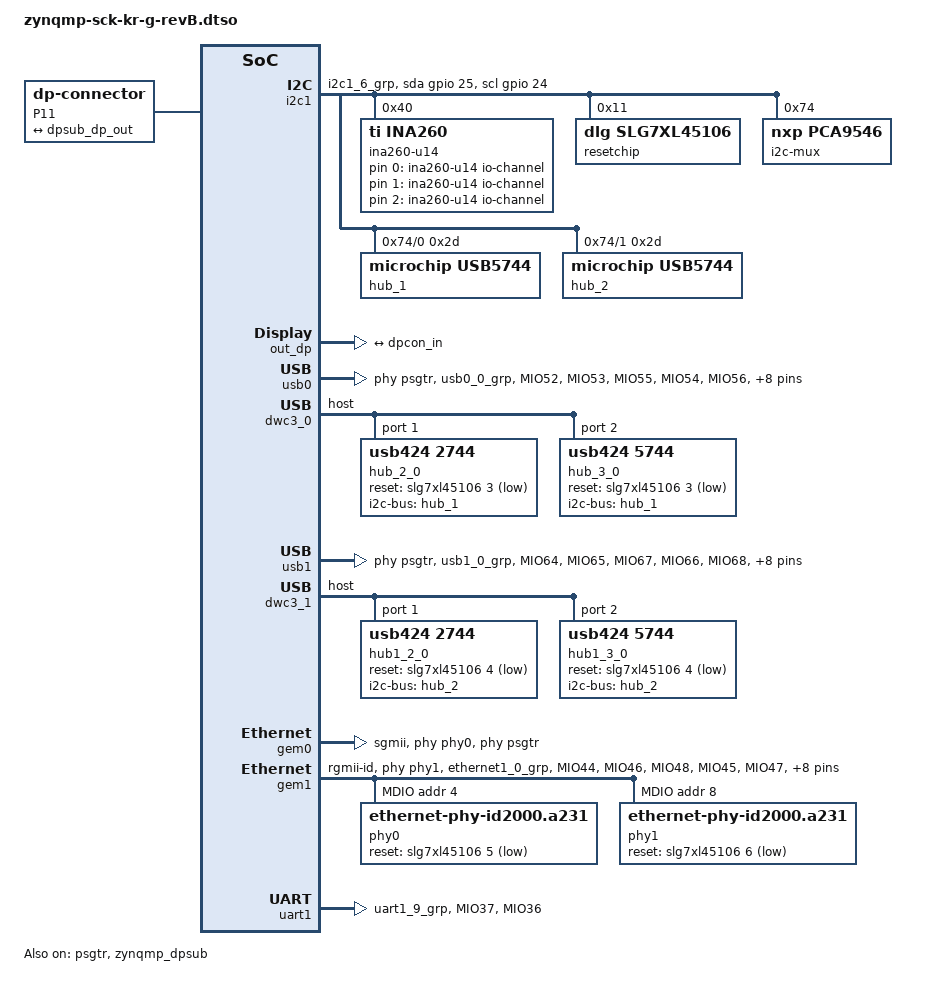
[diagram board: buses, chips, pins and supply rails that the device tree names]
// SPDX-License-Identifier: GPL-2.0
/*
 * dts file for KR260 revB Carrier Card (A03 revision)
 *
 * (C) Copyright 2021 - 2022, Xilinx, Inc.
 *
 * Michal Simek <michal.simek@amd.com>
 */

#include <dt-bindings/gpio/gpio.h>
#include <dt-bindings/net/ti-dp83867.h>
#include <dt-bindings/phy/phy.h>
#include <dt-bindings/pinctrl/pinctrl-zynqmp.h>

/dts-v1/;
/plugin/;

&{/} {
	compatible = "xlnx,zynqmp-sk-kr260-revB",
		     "xlnx,zynqmp-sk-kr260", "xlnx,zynqmp";
	model = "ZynqMP KR260 revB";

	aliases {
		ethernet0 = "/axi/ethernet@ff0b0000"; /* &gem0 */
		ethernet1 = "/axi/ethernet@ff0c0000"; /* &gem1 */
	};

	ina260-u14 {
		compatible = "iio-hwmon";
		io-channels = <&u14 0>, <&u14 1>, <&u14 2>;
	};

	clk_125: clock0 { /* u87 - GEM0/1 */
		compatible = "fixed-clock";
		#clock-cells = <0>;
		clock-frequency = <125000000>;
	};

	clk_27: clock1 { /* u86 - DP */
		compatible = "fixed-clock";
		#clock-cells = <0>;
		clock-frequency = <27000000>;
	};

	clk_26: clock2 { /* u89 - USB */
		compatible = "fixed-clock";
		#clock-cells = <0>;
		clock-frequency = <26000000>;
	};

	clk_156: clock3 { /* u90 - SFP+ */
		compatible = "fixed-clock";
		#clock-cells = <0>;
		clock-frequency = <156250000>;
	};

	clk_25_0: clock4 { /* u92/u91 - GEM2 */
		compatible = "fixed-clock";
		#clock-cells = <0>;
		clock-frequency = <25000000>;
	};

	clk_25_1: clock5 { /* u92/u91 - GEM3 */
		compatible = "fixed-clock";
		#clock-cells = <0>;
		clock-frequency = <25000000>;
	};

	clk_74: clock6 { /* u88 - SLVC-EC */
		compatible = "fixed-clock";
		#clock-cells = <0>;
		clock-frequency = <74250000>;
	};

	dpcon {
		compatible = "dp-connector";
		label = "P11";
		type = "full-size";

		port {
			dpcon_in: endpoint {
				remote-endpoint = <&dpsub_dp_out>;
			};
		};
	};
};

&i2c1 { /* I2C_SCK C26/C27 - MIO from SOM */
	#address-cells = <1>;
	#size-cells = <0>;
	pinctrl-names = "default", "gpio";
	pinctrl-0 = <&pinctrl_i2c1_default>;
	pinctrl-1 = <&pinctrl_i2c1_gpio>;
	scl-gpios = <&gpio 24 (GPIO_ACTIVE_HIGH | GPIO_OPEN_DRAIN)>;
	sda-gpios = <&gpio 25 (GPIO_ACTIVE_HIGH | GPIO_OPEN_DRAIN)>;

	u14: ina260@40 { /* u14 */
		compatible = "ti,ina260";
		#io-channel-cells = <1>;
		label = "ina260-u14";
		reg = <0x40>;
	};

	slg7xl45106: gpio@11 { /* u19 - reset logic */
		compatible = "dlg,slg7xl45106";
		reg = <0x11>;
		label = "resetchip";
		gpio-controller;
		#gpio-cells = <2>;
		gpio-line-names = "USB0_PHY_RESET_B", "USB1_PHY_RESET_B",
				  "SD_RESET_B", "USB0_HUB_RESET_B",
				  "USB1_HUB_RESET_B", "PS_GEM0_RESET_B",
				  "PS_GEM1_RESET_B", "";
	};

	i2c-mux@74 { /* u18 */
		compatible = "nxp,pca9546";
		#address-cells = <1>;
		#size-cells = <0>;
		reg = <0x74>;
		usbhub_i2c0: i2c@0 {
			#address-cells = <1>;
			#size-cells = <0>;
			reg = <0>;
			hub_1: usb-hub@2d {
				compatible = "microchip,usb5744";
				reg = <0x2d>;
			};
		};
		usbhub_i2c1: i2c@1 {
			#address-cells = <1>;
			#size-cells = <0>;
			reg = <1>;
			hub_2: usb-hub@2d {
				compatible = "microchip,usb5744";
				reg = <0x2d>;
			};
		};
		/* Bus 2/3 are not connected */
	};

	/* si5332@6a - u17 - clock-generator */
};

/* GEM SGMII/DP and USB 3.0 */
&psgtr {
	status = "okay";
	/* gem0/1, dp, usb */
	clocks = <&clk_125>, <&clk_27>, <&clk_26>;
	clock-names = "ref0", "ref1", "ref2";
};

&zynqmp_dpsub {
	status = "okay";
	phy-names = "dp-phy0";
	phys = <&psgtr 1 PHY_TYPE_DP 0 1>;
	assigned-clock-rates = <27000000>, <25000000>, <300000000>;
};

&out_dp {
	dpsub_dp_out: endpoint {
		remote-endpoint = <&dpcon_in>;
	};
};

&zynqmp_dpdma {
	status = "okay";
	assigned-clock-rates = <600000000>;
};

&usb0 { /* mio52 - mio63 */
	status = "okay";
	pinctrl-names = "default";
	pinctrl-0 = <&pinctrl_usb0_default>;
	phy-names = "usb3-phy";
	phys = <&psgtr 2 PHY_TYPE_USB3 0 2>;
	reset-gpios = <&slg7xl45106 0 GPIO_ACTIVE_LOW>;
	assigned-clock-rates = <250000000>, <20000000>;
};

&dwc3_0 {
	status = "okay";
	dr_mode = "host";
	snps,usb3_lpm_capable;
	maximum-speed = "super-speed";
	#address-cells = <1>;
	#size-cells = <0>;

	/* 2.0 hub on port 1 */
	hub_2_0: hub@1 {
		compatible = "usb424,2744";
		reg = <1>;
		peer-hub = <&hub_3_0>;
		i2c-bus = <&hub_1>;
		reset-gpios = <&slg7xl45106 3 GPIO_ACTIVE_LOW>;
	};

	/* 3.0 hub on port 2 */
	hub_3_0: hub@2 {
		compatible = "usb424,5744";
		reg = <2>;
		peer-hub = <&hub_2_0>;
		i2c-bus = <&hub_1>;
		reset-gpios = <&slg7xl45106 3 GPIO_ACTIVE_LOW>;
	};
};

&usb1 { /* mio64 - mio75 */
	status = "okay";
	pinctrl-names = "default";
	pinctrl-0 = <&pinctrl_usb1_default>;
	phy-names = "usb3-phy";
	phys = <&psgtr 3 PHY_TYPE_USB3 1 2>;
	reset-gpios = <&slg7xl45106 1 GPIO_ACTIVE_LOW>;
	assigned-clock-rates = <250000000>, <20000000>;
};

&dwc3_1 {
	status = "okay";
	dr_mode = "host";
	snps,usb3_lpm_capable;
	maximum-speed = "super-speed";
	#address-cells = <1>;
	#size-cells = <0>;

	/* 2.0 hub on port 1 */
	hub1_2_0: hub@1 {
		compatible = "usb424,2744";
		reg = <1>;
		peer-hub = <&hub1_3_0>;
		i2c-bus = <&hub_2>;
		reset-gpios = <&slg7xl45106 4 GPIO_ACTIVE_LOW>;
	};

	/* 3.0 hub on port 2 */
	hub1_3_0: hub@2 {
		compatible = "usb424,5744";
		reg = <2>;
		peer-hub = <&hub1_2_0>;
		i2c-bus = <&hub_2>;
		reset-gpios = <&slg7xl45106 4 GPIO_ACTIVE_LOW>;
	};
};

&gem0 { /* mdio mio50/51 */
	status = "okay";
	phys = <&psgtr 0 PHY_TYPE_SGMII 0 0>;
	phy-handle = <&phy0>;
	phy-mode = "sgmii";
	assigned-clock-rates = <250000000>;
};

&gem1 { /* mdio mio50/51, gem mio38 - mio49 */
	status = "okay";
	pinctrl-names = "default";
	pinctrl-0 = <&pinctrl_gem1_default>;
	phy-handle = <&phy1>;
	phy-mode = "rgmii-id";
	assigned-clock-rates = <250000000>;

	mdio: mdio {
		#address-cells = <1>;
		#size-cells = <0>;
		phy0: ethernet-phy@4 { /* u81 */
			#phy-cells = <1>;
			compatible = "ethernet-phy-id2000.a231";
			reg = <4>;
			ti,rx-internal-delay = <DP83867_RGMIIDCTL_2_25_NS>;
			ti,tx-internal-delay = <DP83867_RGMIIDCTL_2_75_NS>;
			ti,fifo-depth = <DP83867_PHYCR_FIFO_DEPTH_4_B_NIB>;
			ti,dp83867-rxctrl-strap-quirk;
			reset-assert-us = <300>;
			reset-deassert-us = <280>;
			reset-gpios = <&slg7xl45106 5 GPIO_ACTIVE_LOW>;
		};
		phy1: ethernet-phy@8 { /* u36 */
			#phy-cells = <1>;
			compatible = "ethernet-phy-id2000.a231";
			reg = <8>;
			ti,rx-internal-delay = <DP83867_RGMIIDCTL_2_25_NS>;
			ti,tx-internal-delay = <DP83867_RGMIIDCTL_2_75_NS>;
			ti,fifo-depth = <DP83867_PHYCR_FIFO_DEPTH_4_B_NIB>;
			ti,dp83867-rxctrl-strap-quirk;
			reset-assert-us = <100>;
			reset-deassert-us = <280>;
			reset-gpios = <&slg7xl45106 6 GPIO_ACTIVE_LOW>;
		};
	};
};

/* gem2/gem3 via PL with phys u79@2 and u80@3 */

&pinctrl0 {
	status = "okay";

	pinctrl_uart1_default: uart1-default {
		conf {
			groups = "uart1_9_grp";
			slew-rate = <SLEW_RATE_SLOW>;
			power-source = <IO_STANDARD_LVCMOS18>;
			drive-strength = <12>;
		};

		conf-rx {
			pins = "MIO37";
			bias-high-impedance;
		};

		conf-tx {
			pins = "MIO36";
			bias-disable;
			output-enable;
		};

		mux {
			groups = "uart1_9_grp";
			function = "uart1";
		};
	};

	pinctrl_i2c1_default: i2c1-default {
		conf {
			groups = "i2c1_6_grp";
			bias-pull-up;
			slew-rate = <SLEW_RATE_SLOW>;
			power-source = <IO_STANDARD_LVCMOS18>;
		};

		mux {
			groups = "i2c1_6_grp";
			function = "i2c1";
		};
	};

	pinctrl_i2c1_gpio: i2c1-gpio-grp {
		conf {
			groups = "gpio0_24_grp", "gpio0_25_grp";
			slew-rate = <SLEW_RATE_SLOW>;
			power-source = <IO_STANDARD_LVCMOS18>;
		};

		mux {
			groups = "gpio0_24_grp", "gpio0_25_grp";
			function = "gpio0";
		};
	};

	pinctrl_gem1_default: gem1-default {
		conf {
			groups = "ethernet1_0_grp";
			slew-rate = <SLEW_RATE_SLOW>;
			power-source = <IO_STANDARD_LVCMOS18>;
		};

		conf-rx {
			pins = "MIO44", "MIO46", "MIO48";
			bias-high-impedance;
			low-power-disable;
		};

		conf-bootstrap {
			pins = "MIO45", "MIO47", "MIO49";
			bias-disable;
			output-enable;
			low-power-disable;
		};

		conf-tx {
			pins = "MIO38", "MIO39", "MIO40",
				"MIO41", "MIO42", "MIO43";
			bias-disable;
			output-enable;
			low-power-enable;
		};

		conf-mdio {
			groups = "mdio1_0_grp";
			slew-rate = <SLEW_RATE_SLOW>;
			power-source = <IO_STANDARD_LVCMOS18>;
			bias-disable;
			output-enable;
		};

		mux-mdio {
			function = "mdio1";
			groups = "mdio1_0_grp";
		};

		mux {
			function = "ethernet1";
			groups = "ethernet1_0_grp";
		};
	};

	pinctrl_usb0_default: usb0-default {
		conf {
			groups = "usb0_0_grp";
			power-source = <IO_STANDARD_LVCMOS18>;
		};

		conf-rx {
			pins = "MIO52", "MIO53", "MIO55";
			bias-high-impedance;
			drive-strength = <12>;
			slew-rate = <SLEW_RATE_FAST>;
		};

		conf-tx {
			pins = "MIO54", "MIO56", "MIO57", "MIO58", "MIO59",
			"MIO60", "MIO61", "MIO62", "MIO63";
			bias-disable;
			output-enable;
			drive-strength = <4>;
			slew-rate = <SLEW_RATE_SLOW>;
		};

		mux {
			groups = "usb0_0_grp";
			function = "usb0";
		};
	};

	pinctrl_usb1_default: usb1-default {
		conf {
			groups = "usb1_0_grp";
			power-source = <IO_STANDARD_LVCMOS18>;
		};

		conf-rx {
			pins = "MIO64", "MIO65", "MIO67";
			bias-high-impedance;
			drive-strength = <12>;
			slew-rate = <SLEW_RATE_FAST>;
		};

		conf-tx {
			pins = "MIO66", "MIO68", "MIO69", "MIO70", "MIO71",
			"MIO72", "MIO73", "MIO74", "MIO75";
			bias-disable;
			output-enable;
			drive-strength = <4>;
			slew-rate = <SLEW_RATE_SLOW>;
		};

		mux {
			groups = "usb1_0_grp";
			function = "usb1";
		};
	};
};

&uart1 {
	status = "okay";
	pinctrl-names = "default";
	pinctrl-0 = <&pinctrl_uart1_default>;
};
